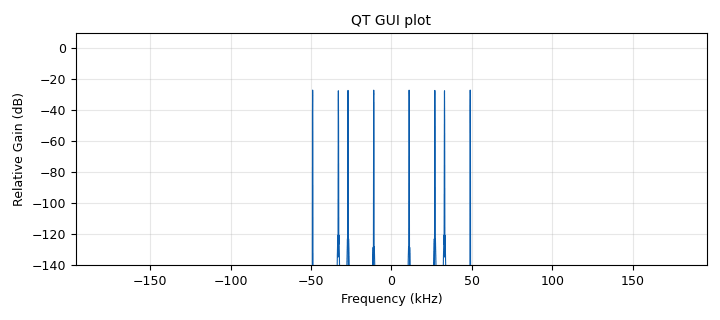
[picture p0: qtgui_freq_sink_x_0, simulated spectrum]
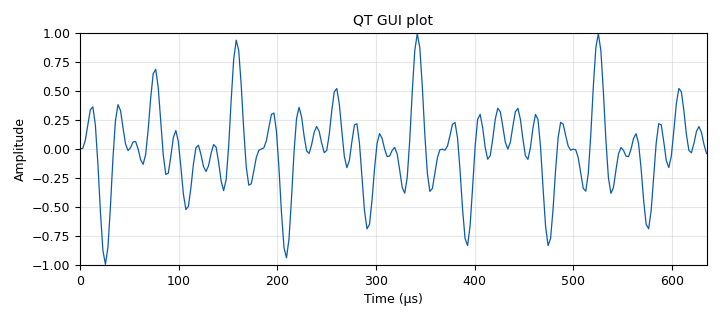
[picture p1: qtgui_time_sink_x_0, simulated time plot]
options:
  parameters:
    author: uis-e3t
    generate_options: qt_gui
    id: punto3
    output_language: python
    title: Not titled yet
  states: {}

blocks:
- name: freq
  id: variable_qtgui_range
  parameters:
    label: Frequency
    orient: Qt.Horizontal
    start: 1e3
    step: 1e3
    stop: 50e3
    value: 1E3
  states: {}
- name: samp_rate
  id: variable
  parameters:
    value: 49000*8
  states: {}
- name: analog_sig_source_x_0
  id: analog_sig_source_x
  parameters:
    amp: '1'
    freq: 11e3
    offset: '0'
    phase: '0'
    samp_rate: samp_rate
    type: float
    waveform: analog.GR_COS_WAVE
  states: {}
- name: analog_sig_source_x_0_0_0_0
  id: analog_sig_source_x
  parameters:
    amp: '1'
    freq: 30e3
    offset: '0'
    phase: '0'
    samp_rate: samp_rate
    type: float
    waveform: analog.GR_SIN_WAVE
  states: {}
- name: analog_sig_source_x_0_0_0_0_0
  id: analog_sig_source_x
  parameters:
    amp: '1'
    freq: 8e3
    offset: '0'
    phase: '0'
    samp_rate: samp_rate
    type: float
    waveform: analog.GR_SIN_WAVE
  states: {}
- name: blocks_multiply_xx_0
  id: blocks_multiply_xx
  parameters:
    num_inputs: '3'
    type: float
  states: {}
- name: qtgui_freq_sink_x_0
  id: qtgui_freq_sink_x
  parameters:
    bw: samp_rate
    fc: '0'
    fftsize: '8192'
    name: '"QT GUI plot"'
    type: float
    wintype: firdes.WIN_BLACKMAN_hARRIS
  states: {}
- name: qtgui_time_sink_x_0
  id: qtgui_time_sink_x
  parameters:
    name: '"QT GUI plot"'
    size: '250'
    srate: samp_rate
    type: float
  states: {}

connections:
- [analog_sig_source_x_0, '0', blocks_multiply_xx_0, '0']
- [analog_sig_source_x_0_0_0_0, '0', blocks_multiply_xx_0, '1']
- [analog_sig_source_x_0_0_0_0_0, '0', blocks_multiply_xx_0, '2']
- [blocks_multiply_xx_0, '0', qtgui_freq_sink_x_0, '0']
- [blocks_multiply_xx_0, '0', qtgui_time_sink_x_0, '0']

metadata:
  file_format: 1
